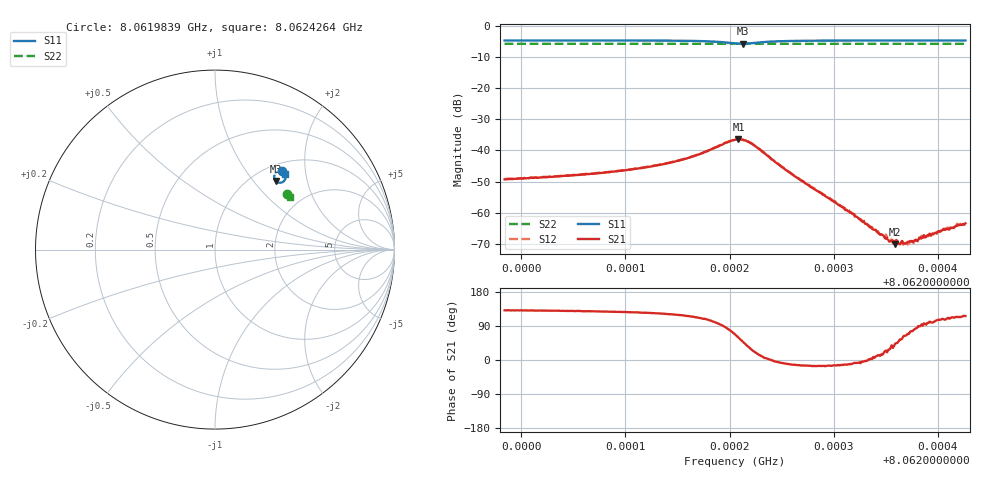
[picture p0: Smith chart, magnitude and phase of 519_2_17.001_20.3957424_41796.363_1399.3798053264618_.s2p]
#  HZ  S  RI  R  50.00
! Rohde & Schwarz Vector Network Analyzer
! Rohde-Schwarz,ZNB20-2Port,1311601062101988,3.16
! Created: UTC 3/20/2024, 11:15:19 PM
! freq[Hz]  re:S11  im:S11  re:S21  im:S21  re:S12  im:S12  re:S22  im:S22
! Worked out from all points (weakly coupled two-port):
!   401 points, 8.0619839 GHz to 8.0624264 GHz, reference 50 ohm
!   highest |S21| = -36.42 dB at 8.0622085 GHz (marker M1); lowest = -70.1 dB at 8.062359 GHz (marker M2)
!   lowest |S11| = -5.8 dB at 8.0622129 GHz (marker M3), VSWR 3.09, Z = 63.3 + j65.5 ohm
!   |S11| at or under -10 dB: nowhere
!   |S22| runs from -5.9 to -5.9 dB; largest |S21 - S12| = 0.00095
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8.06198392e9  0.3759 0.4365  -0.00226 0.00258  -0.0021 0.00275  0.4024 0.3123
8.06205804e9  0.3819 0.4307  -0.00256 0.00319  -0.00241 0.00336  0.4052 0.3085
8.06213216e9  0.3895 0.42  -0.00316 0.00487  -0.00288 0.00511  0.408 0.3044
8.06216424e9  0.3932 0.408  -0.00326 0.00722  -0.00289 0.00748  0.409 0.3023
8.06220518e9  0.3588 0.3725  0.00562 0.0137  0.00652 0.0134  0.4085 0.2992
8.0622085e9  0.3496 0.3747  0.00776 0.013  0.00848 0.0125  0.408 0.2992
8.06221292e9  0.3384 0.3823  0.00994 0.0109  0.0106 0.0103  0.4077 0.2995
8.06222288e9  0.33 0.4078  0.0112 0.00483  0.0116 0.00434  0.408 0.3003
8.06225054e9  0.3549 0.4351  0.00531 -0.000751  0.00534 -0.0011  0.4106 0.2999
8.0622793e9  0.3694 0.4351  0.00242 -0.00068  0.00242 -0.000831  0.4121 0.2984
8.06231913e9  0.3786 0.4317  0.000942 -0.000137  0.000926 -0.000238  0.4138 0.2962
8.06234568e9  0.3824 0.4296  0.000438 0.000118  0.000432 8.27e-05  0.4148 0.2947
8.06235342e9  0.3834 0.4289  0.000304 0.00016  0.00033 0.000126  0.4151 0.2942
8.06235563e9  0.3835 0.4287  0.000274 0.000221  0.000332 0.000206  0.4152 0.2942
8.06235895e9  0.3838 0.4285  0.000227 0.000212  0.000249 0.0002  0.4154 0.294
8.06236338e9  0.3846 0.4282  0.000182 0.000253  0.00023 0.000267  0.4154 0.2938
8.06236891e9  0.3851 0.4279  0.000139 0.000286  0.000155 0.000285  0.4156 0.2935
8.06237776e9  0.386 0.4271  5.57e-05 0.000354  9.64e-05 0.000347  0.4161 0.293
8.06240652e9  0.3884 0.4252  -0.000149 0.000511  -0.000182 0.000523  0.4169 0.2914
8.06241427e9  0.3892 0.4247  -0.000224 0.000535  -0.000164 0.00056  0.4172 0.2912
8.06242091e9  0.3898 0.4241  -0.000247 0.000584  -0.000232 0.000594  0.4175 0.2908
8.06242644e9  0.3902 0.4239  -0.000298 0.00061  -0.000253 0.000586  0.4179 0.2905
